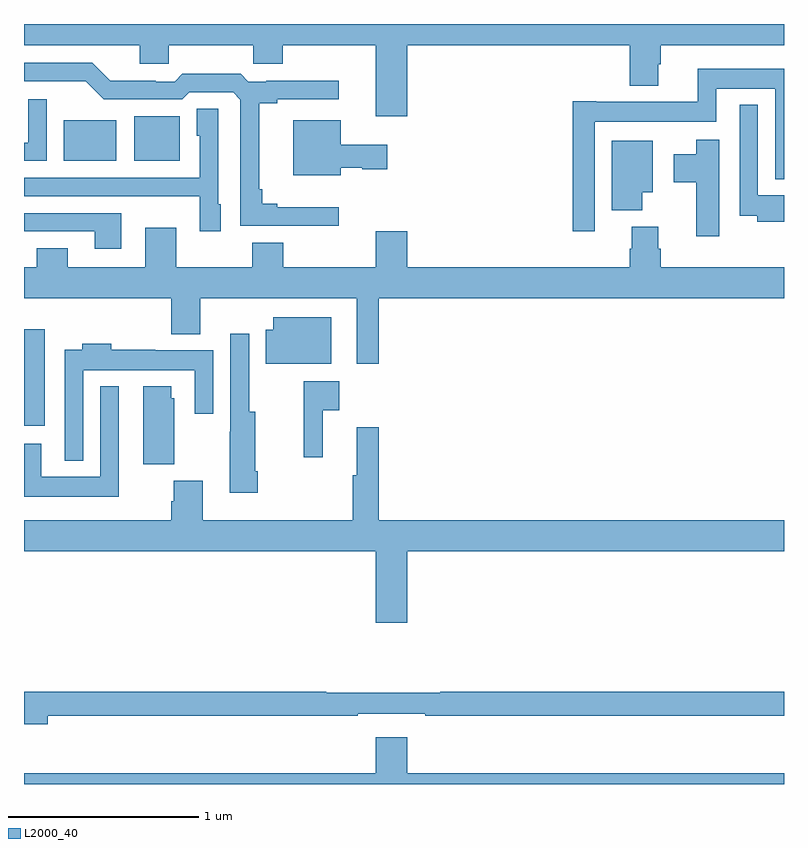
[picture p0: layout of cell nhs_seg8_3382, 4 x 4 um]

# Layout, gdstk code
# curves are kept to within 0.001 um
import gdstk
lib = gdstk.Library(unit=1e-6, precision=1e-09)
def R(c, l, rs):  # rectangles x0, y0, x1, y1
    for r in rs: c.add(gdstk.rectangle(r[:2], r[2:], *l))
def P(c, l, *ps):  # polygons
    for p in ps: c.add(gdstk.Polygon(p, *l))
L2000_40 = (2000, 40)

nhs_seg8_3382 = lib.new_cell('nhs_seg8_3382')
R(nhs_seg8_3382, L2000_40, [(319,1159.785,319.108,1160.293), (319.208,1161.179,319.486,1161.394), (319.58,1161.179,319.819,1161.415)])
P(nhs_seg8_3382, L2000_40, [(319,1161.788),(319.61,1161.788),(319.61,1161.69),(319.761,1161.69),(319.761,1161.788),(320.206,1161.788),(320.206,1161.69),(320.361,1161.69),(320.361,1161.788),(320.852,1161.788),(320.852,1161.414),(321.016,1161.414),(321.016,1161.788),(322.187,1161.788),(322.187,1161.575),(322.339,1161.575),(322.339,1161.687),(322.352,1161.687),(322.352,1161.788),(323,1161.788),(323,1161.9),(319,1161.9)],
  [(320.656,1160.935),(320.332,1160.935),(320.332,1160.954),(320.255,1160.954),(320.255,1161.031),(320.237,1161.031),(320.237,1161.482),(320.332,1161.482),(320.332,1161.504),(320.656,1161.504),(320.656,1161.602),(320.275,1161.602),(320.275,1161.597),(320.181,1161.597),(320.141,1161.637),(319.834,1161.637),(319.794,1161.597),(319.694,1161.597),(319.694,1161.602),(319.454,1161.602),(319.359,1161.696),(319,1161.696),(319,1161.6),(319.325,1161.599),(319.419,1161.504),(319.833,1161.504),(319.869,1161.54),(320.1,1161.54),(320.139,1161.501),(320.139,1160.838),(320.656,1160.838)],
  [(322.005,1161.386),(322.644,1161.386),(322.644,1161.56),(322.953,1161.56),(322.953,1161.083),(323,1161.083),(323,1161.664),(322.547,1161.664),(322.547,1161.49),(322.012,1161.49),(322.012,1161.493),(321.889,1161.493),(321.889,1160.808),(322.005,1160.808)],
  [(319.119,1161.505),(319.023,1161.505),(319.023,1161.276),(319,1161.276),(319,1161.18),(319.119,1161.18)],
  [(323,1160.998),(322.863,1160.998),(322.863,1161.475),(322.767,1161.475),(322.767,1160.892),(322.859,1160.892),(322.859,1160.858),(323,1160.858)],
  [(320.035,1160.952),(320.022,1160.952),(320.022,1161.455),(319.91,1161.455),(319.91,1161.312),(319.926,1161.312),(319.926,1161.09),(319,1161.09),(319,1160.994),(319.609,1160.994),(319.609,1160.993),(319.926,1160.993),(319.926,1160.808),(320.035,1160.808)],
  [(320.668,1161.143),(320.781,1161.143),(320.781,1161.136),(320.911,1161.136),(320.911,1161.265),(320.668,1161.265),(320.668,1161.394),(320.417,1161.394),(320.417,1161.104),(320.668,1161.104)],
  [(322.66,1161.292),(322.538,1161.292),(322.538,1161.214),(322.421,1161.214),(322.421,1161.067),(322.538,1161.067),(322.538,1160.784),(322.66,1160.784)],
  [(322.255,1161.014),(322.309,1161.014),(322.309,1161.286),(322.094,1161.286),(322.094,1160.921),(322.255,1160.921)],
  [(319.513,1160.904),(319,1160.904),(319,1160.808),(319.373,1160.808),(319.373,1160.718),(319.513,1160.718)],
  [(320.867,1160.456),(323,1160.456),(323,1160.62),(322.352,1160.62),(322.352,1160.718),(322.339,1160.718),(322.339,1160.833),(322.199,1160.833),(322.199,1160.718),(322.187,1160.718),(322.187,1160.62),(321.016,1160.62),(321.016,1160.809),(320.852,1160.809),(320.852,1160.62),(320.365,1160.62),(320.365,1160.749),(320.201,1160.749),(320.201,1160.62),(319.801,1160.62),(319.801,1160.827),(319.637,1160.827),(319.637,1160.62),(319.231,1160.62),(319.231,1160.719),(319.067,1160.719),(319.067,1160.62),(319,1160.62),(319,1160.456),(319.775,1160.456),(319.775,1160.267),(319.927,1160.267),(319.927,1160.456),(320.75,1160.456),(320.75,1160.112),(320.867,1160.112)],
  [(320.617,1160.356),(320.312,1160.356),(320.312,1160.29),(320.273,1160.29),(320.273,1160.111),(320.617,1160.111)],
  [(320.231,1159.546),(320.218,1159.546),(320.218,1159.858),(320.186,1159.858),(320.186,1160.269),(320.085,1160.269),(320.085,1159.754),(320.084,1159.754),(320.084,1159.434),(320.231,1159.434)],
  [(319.311,1160.078),(319.899,1160.078),(319.899,1159.848),(319.995,1159.848),(319.995,1160.182),(319.691,1160.182),(319.691,1160.185),(319.46,1160.185),(319.46,1160.218),(319.307,1160.218),(319.307,1160.185),(319.215,1160.185),(319.215,1159.601),(319.311,1159.601)],
  [(320.573,1159.868),(320.659,1159.868),(320.659,1160.02),(320.473,1160.02),(320.473,1159.62),(320.573,1159.62)],
  [(319.792,1159.929),(319.774,1159.929),(319.774,1159.993),(319.628,1159.993),(319.628,1159.582),(319.792,1159.582)],
  [(319.498,1159.993),(319.401,1159.993),(319.401,1159.516),(319.092,1159.516),(319.092,1159.69),(319,1159.69),(319,1159.412),(319.498,1159.412)],
  [(321.016,1159.124),(323,1159.124),(323,1159.288),(320.867,1159.288),(320.867,1159.777),(320.75,1159.777),(320.75,1159.524),(320.731,1159.524),(320.731,1159.288),(319.94,1159.288),(319.94,1159.497),(319.787,1159.497),(319.787,1159.388),(319.775,1159.388),(319.775,1159.288),(319,1159.288),(319,1159.124),(320.852,1159.124),(320.852,1158.75),(321.016,1158.75)],
  [(319.126,1158.258),(320.756,1158.258),(320.756,1158.27),(321.112,1158.27),(321.112,1158.258),(323,1158.258),(323,1158.386),(321.191,1158.386),(321.191,1158.379),(320.591,1158.379),(320.591,1158.386),(319,1158.386),(319,1158.215),(319.126,1158.215)],
  [(323,1157.956),(321.016,1157.956),(321.016,1158.145),(320.852,1158.145),(320.852,1157.956),(319,1157.956),(319,1157.9),(323,1157.9)])

lib.write_gds('nhs_seg8_3382.gds')
